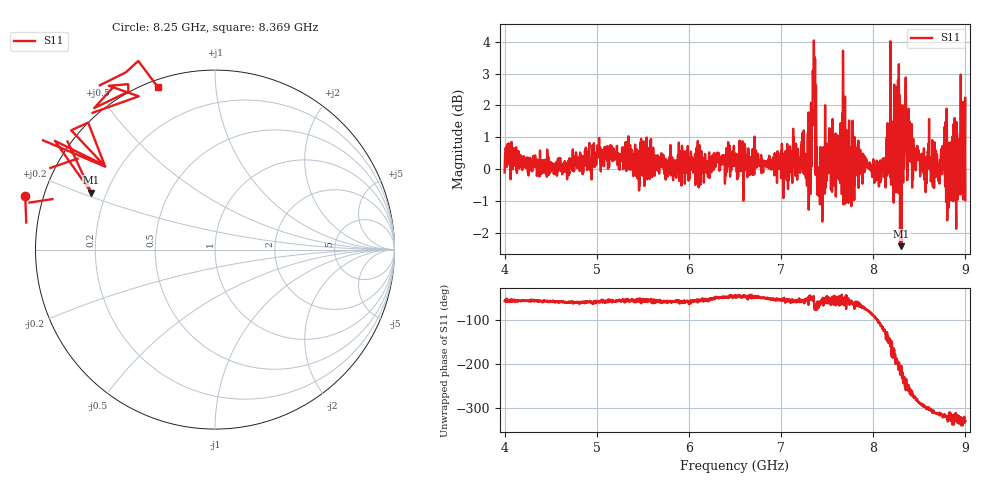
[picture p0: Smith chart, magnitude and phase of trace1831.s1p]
! Created with skrf 1.8.0 (http://scikit-rf.org).
# Hz S RI R 50.0
!freq ReS11 ImS11
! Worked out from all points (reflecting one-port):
!   1601 points, 4 GHz to 9 GHz, reference 50 ohm
!   lowest |S11| = -2.4 dB at 8.306 GHz (marker M1), VSWR 7.29, Z = 7.18 + j10.8 ohm
!   phase of S11 starts at -58 deg and turns -271 deg over the sweep
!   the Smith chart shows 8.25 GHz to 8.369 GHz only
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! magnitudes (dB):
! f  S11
! 4 GHz  -0.1
! 4.625 GHz  -0.2
! 5.25 GHz  0.0
! 5.875 GHz  -0.1
! 6.5 GHz  0.2
! 7.125 GHz  0.6
! 7.294 GHz  0.4
! 7.356 GHz  4.0
! 7.369 GHz  3.5
! 7.4 GHz  -0.1
! 7.428 GHz  0.7
! 7.503 GHz  0.8
! 7.619 GHz  1.0
! 7.669 GHz  1.6
! 7.703 GHz  0.6
! 7.75 GHz  -0.2
! 8.075 GHz  0.3
! 8.262 GHz  -0.5
! 8.306 GHz  -2.4
! 8.316 GHz  0.5
! 8.334 GHz  0.0
! 8.375 GHz  1.2
! 8.447 GHz  0.7
! 8.556 GHz  -0.3
! 8.775 GHz  1.3
! 8.828 GHz  -0.2
! 8.972 GHz  0.6
! 9 GHz  -1.0
